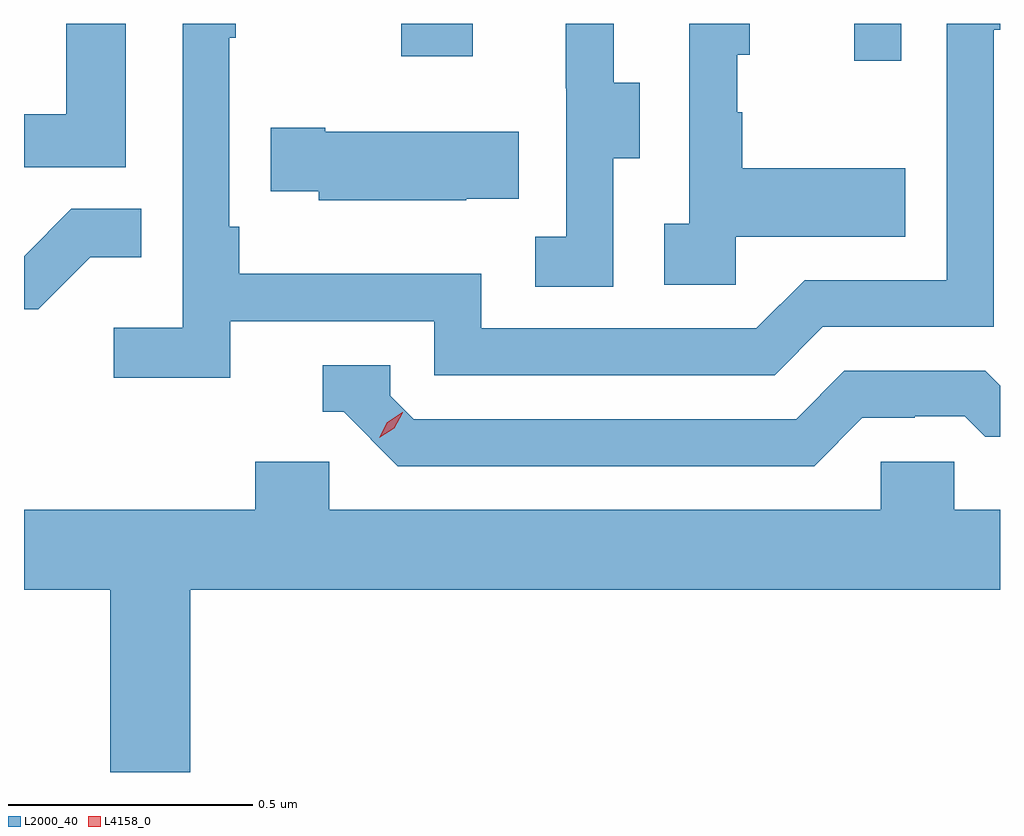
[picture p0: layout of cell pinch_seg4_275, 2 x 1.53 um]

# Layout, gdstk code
import gdstk
lib = gdstk.Library(unit=1e-6, precision=1e-09)
def R(c, l, rs):  # rectangles x0, y0, x1, y1
    for r in rs: c.add(gdstk.rectangle(r[:2], r[2:], *l))
def P(c, l, *ps):  # polygons
    for p in ps: c.add(gdstk.Polygon(p, *l))
L2000_40 = (2000, 40)
L4158_0 = (4158, 0)

pinch_seg4_275 = lib.new_cell('pinch_seg4_275')
R(pinch_seg4_275, L2000_40, [(945.752,816.552,945.849,816.627), (944.824,816.561,944.971,816.627)])
P(pinch_seg4_275, L2000_40, [(944.474,816.018),(944.892,816.018),(944.892,815.907),(945.589,815.907),(945.688,816.006),(946.038,816.006),(946.038,816.615),(946.051,816.615),(946.051,816.627),(945.942,816.627),(945.942,816.102),(945.651,816.102),(945.552,816.003),(944.988,816.003),(944.988,816.115),(944.492,816.115),(944.492,816.211),(944.472,816.211),(944.472,816.599),(944.485,816.599),(944.485,816.627),(944.376,816.627),(944.376,816.004),(944.235,816.004),(944.235,815.902),(944.474,815.902)],
  [(944.26,816.627),(944.138,816.627),(944.138,816.442),(944.051,816.442),(944.051,816.333),(944.26,816.333)],
  [(945.51,816.191),(945.857,816.191),(945.857,816.331),(945.523,816.331),(945.523,816.446),(945.513,816.446),(945.513,816.564),(945.538,816.564),(945.538,816.627),(945.414,816.627),(945.414,816.218),(945.363,816.218),(945.363,816.093),(945.51,816.093)],
  [(945.258,816.352),(945.313,816.352),(945.313,816.507),(945.259,816.507),(945.259,816.627),(945.161,816.627),(945.161,816.495),(945.162,816.495),(945.162,816.191),(945.099,816.191),(945.099,816.088),(945.258,816.088)],
  [(944.957,816.269),(945.065,816.269),(945.065,816.406),(944.668,816.406),(944.668,816.414),(944.557,816.414),(944.557,816.284),(944.655,816.284),(944.655,816.266),(944.957,816.266)],
  [(944.187,816.149),(944.291,816.149),(944.291,816.248),(944.148,816.248),(944.051,816.151),(944.051,816.042),(944.08,816.042)],
  [(945.769,815.82),(945.876,815.82),(945.876,815.823),(945.979,815.823),(946.021,815.781),(946.051,815.781),(946.051,815.886),(946.021,815.916),(945.732,815.916),(945.633,815.817),(944.85,815.817),(944.802,815.865),(944.802,815.928),(944.663,815.928),(944.663,815.832),(944.706,815.832),(944.817,815.721),(945.67,815.721)],
  [(944.392,815.468),(946.051,815.468),(946.051,815.632),(945.957,815.632),(945.957,815.73),(945.807,815.73),(945.807,815.632),(944.676,815.632),(944.676,815.73),(944.525,815.73),(944.525,815.632),(944.051,815.632),(944.051,815.468),(944.228,815.468),(944.228,815.094),(944.392,815.094)])
P(pinch_seg4_275, L4158_0, [(944.779,815.779),(944.779,815.779),(944.795,815.811),(944.826,815.831),(944.827,815.831),(944.827,815.83),(944.81,815.798),(944.779,815.779)])

lib.write_gds('pinch_seg4_275.gds')
